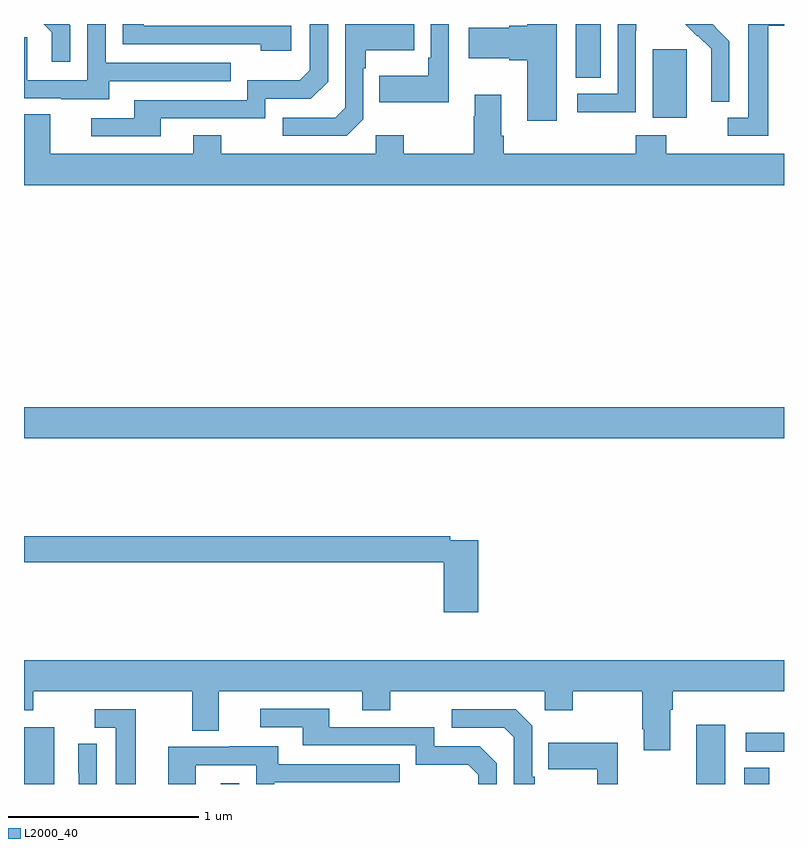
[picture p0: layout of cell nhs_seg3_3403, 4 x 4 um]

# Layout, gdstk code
import gdstk
lib = gdstk.Library(unit=1e-6, precision=1e-09)
def R(c, l, rs):  # rectangles x0, y0, x1, y1
    for r in rs: c.add(gdstk.rectangle(r[:2], r[2:], *l))
def P(c, l, *ps):  # polygons
    for p in ps: c.add(gdstk.Polygon(p, *l))
L2000_40 = (2000, 40)

nhs_seg3_3403 = lib.new_cell('nhs_seg3_3403')
R(nhs_seg3_3403, L2000_40, [(287,728.4,287.158,728.698), (288.035,728.4,288.132,728.404), (290.537,728.4,290.692,728.713), (290.792,728.4,290.923,728.486), (290.799,728.571,291,728.67), (287,730.22,291,730.384), (290.309,731.906,290.488,732.267), (289.904,732.118,290.035,732.4)])
P(nhs_seg3_3403, L2000_40, [(290.917,732.392),(291,732.392),(291,732.4),(290.813,732.4),(290.813,731.907),(290.703,731.907),(290.703,731.811),(290.917,731.811)],
  [(289.804,732.4),(289.649,732.4),(289.649,732.392),(289.553,732.392),(289.553,732.379),(289.341,732.379),(289.341,732.221),(289.553,732.221),(289.553,732.209),(289.649,732.209),(289.649,731.892),(289.804,731.892)],
  [(287.719,731.904),(288.27,731.904),(288.27,732.006),(288.51,732.006),(288.6,732.096),(288.6,732.4),(288.504,732.4),(288.504,732.156),(288.451,732.103),(288.174,732.103),(288.174,732),(287.579,732),(287.579,731.904),(287.355,731.904),(287.355,731.808),(287.719,731.808)],
  [(288.786,731.898),(288.786,732.167),(288.799,732.167),(288.799,732.263),(289.055,732.263),(289.055,732.4),(288.69,732.4),(288.69,731.958),(288.639,731.907),(288.363,731.907),(288.363,731.811),(288.699,731.811)],
  [(289.236,732.4),(289.14,732.4),(289.14,732.223),(289.128,732.223),(289.128,732.127),(288.871,732.127),(288.871,731.987),(289.236,731.987)],
  [(287.449,732.099),(288.089,732.099),(288.089,732.195),(287.43,732.195),(287.43,732.4),(287.334,732.4),(287.334,732.105),(287.016,732.105),(287.016,732.329),(287,732.329),(287,732.009),(287.195,732.009),(287.195,732.005),(287.449,732.005)],
  [(288.406,732.39),(287.629,732.39),(287.629,732.4),(287.52,732.4),(287.52,732.294),(288.245,732.294),(288.245,732.26),(288.406,732.26)],
  [(287.244,732.394),(287.238,732.4),(287.104,732.4),(287.147,732.357),(287.147,732.201),(287.244,732.201)],
  [(290.22,732.364),(290.223,732.364),(290.223,732.4),(290.124,732.4),(290.124,732.033),(289.911,732.033),(289.911,731.935),(290.22,731.935)],
  [(290.712,732.31),(290.639,732.383),(290.64,732.384),(290.624,732.4),(290.48,732.4),(290.544,732.336),(290.547,732.339),(290.618,732.269),(290.618,732.146),(290.616,732.146),(290.616,731.992),(290.712,731.992)],
  [(291,731.716),(290.379,731.716),(290.379,731.815),(290.219,731.815),(290.219,731.716),(289.526,731.716),(289.526,731.812),(289.513,731.812),(289.513,732.028),(289.373,732.028),(289.373,731.915),(289.366,731.915),(289.366,731.716),(288.999,731.716),(288.999,731.815),(288.852,731.815),(288.852,731.716),(288.039,731.716),(288.039,731.815),(287.891,731.815),(287.891,731.716),(287.137,731.716),(287.137,731.924),(287,731.924),(287,731.552),(291,731.552)],
  [(289.391,729.684),(289.244,729.684),(289.244,729.704),(287,729.704),(287,729.568),(289.208,729.568),(289.208,729.303),(289.391,729.303)],
  [(290.401,728.792),(290.414,728.792),(290.414,728.888),(291,728.888),(291,729.052),(287,729.052),(287,728.789),(287.049,728.789),(287.049,728.888),(287.885,728.888),(287.885,728.68),(288.025,728.68),(288.025,728.888),(288.779,728.888),(288.779,728.789),(288.927,728.789),(288.927,728.888),(289.74,728.888),(289.74,728.789),(289.887,728.789),(289.887,728.888),(290.254,728.888),(290.254,728.689),(290.261,728.689),(290.261,728.577),(290.401,728.577)],
  [(289.488,728.508),(289.398,728.598),(289.158,728.598),(289.158,728.7),(288.607,728.7),(288.607,728.796),(288.243,728.796),(288.243,728.7),(288.467,728.7),(288.467,728.604),(289.062,728.604),(289.062,728.501),(289.339,728.501),(289.392,728.448),(289.392,728.4),(289.488,728.4)],
  [(287.587,728.793),(287.373,728.793),(287.373,728.697),(287.483,728.697),(287.483,728.4),(287.587,728.4)],
  [(289.687,728.437),(289.674,728.437),(289.674,728.706),(289.587,728.793),(289.251,728.793),(289.251,728.697),(289.527,728.697),(289.578,728.646),(289.578,728.4),(289.687,728.4)],
  [(290.124,728.617),(289.759,728.617),(289.759,728.477),(290.016,728.477),(290.016,728.4),(290.124,728.4)],
  [(287.382,728.612),(287.286,728.612),(287.286,728.458),(287.288,728.458),(287.288,728.4),(287.382,728.4)],
  [(287.904,728.499),(288.222,728.499),(288.222,728.4),(288.318,728.4),(288.318,728.409),(288.977,728.409),(288.977,728.505),(288.337,728.505),(288.337,728.599),(288.083,728.599),(288.083,728.595),(287.759,728.595),(287.759,728.4),(287.904,728.4)])

lib.write_gds('nhs_seg3_3403.gds')
